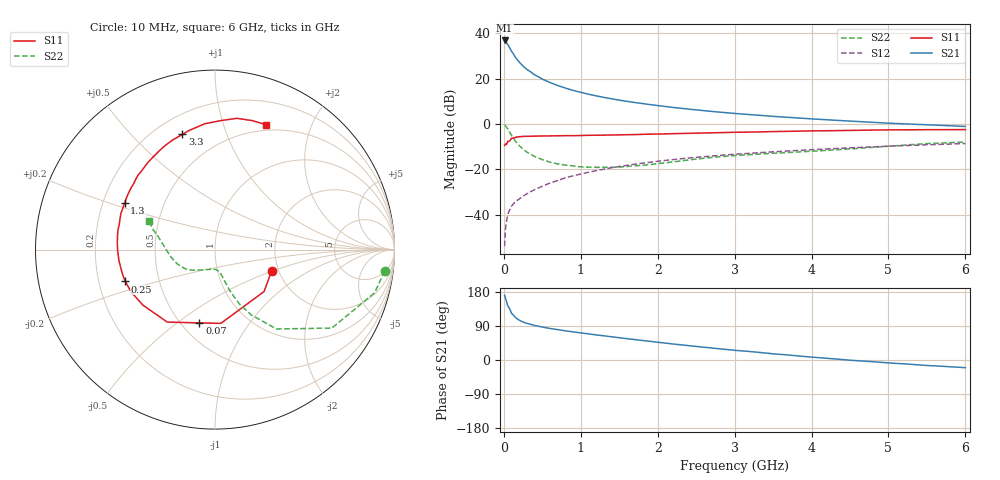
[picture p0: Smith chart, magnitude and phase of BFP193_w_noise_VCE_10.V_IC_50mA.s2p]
! (c) 2017  Infineon Technologies AG, Munich
! Infineon Technologies  Discrete & RF Semiconductors
! BFP193
! VCE =  10. V,  IC =  50 mA
! Common Emitter S-Parameters:  Jan 2017
# GHz  S  MA  R  50
!  f  S11  S21  S12  S22
! GHz  MAG  ANG  MAG  ANG  MAG  ANG  MAG  ANG
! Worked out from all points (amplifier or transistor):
!   77 points, 10 MHz to 6 GHz, reference 50 ohm
!   highest |S21| = 36.9 dB at 10 MHz (marker M1)
!   |S21| within 3 dB of that: start of sweep to 71.15 MHz
!   unconditionally stable (mu >= 1): 618.6 MHz to 2.39 GHz
!   at 130 MHz: K = 0.56, MSG = 32.8 dB, |S12| = -35.0 dB
!   at 2.2 GHz: K = 1.01, MAG = 10.9 dB, |S12| = -15.7 dB
!   at 6 GHz: K = 0.90, MSG = 3.8 dB, |S12| = -8.7 dB
!   lowest NFmin = 1.52 dB at 450 MHz
!   S11 on the Smith chart (normalised r, x): 10 MHz: 1.84, -0.49; 70 MHz: 0.61, -0.61; 250 MHz: 0.31, -0.16; 1.3 GHz: 0.29, +0.22; 3.3 GHz: 0.31, +0.71; 6 GHz: 0.43, +1.39
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0.01  0.3373 -20.5  69.87 171.0  0.002 81.3  0.9526 -7.2
0.02  0.3596 -40.5  68.26 163.4  0.0046 85.9  0.9217 -15.1
0.05  0.4124 -85.5  57.27 143.4  0.0099 63.2  0.7841 -33.9
0.07  0.4174 -102.0  49.87 136.9  0.0121 61.5  0.6865 -39.8
0.1  0.4837 -123.4  40.48 123.1  0.0153 59.9  0.5594 -52.2
0.15  0.5067 -142.3  29.76 112.0  0.0193 57.4  0.4172 -60.9
0.2  0.5231 -152.9  23.27 105.1  0.022 59.6  0.333 -65.8
0.25  0.5308 -160.5  19 100.0  0.0255 59.4  0.2773 -68.3
0.3  0.5335 -165.6  15.99 96.6  0.0286 62.3  0.2381 -70.3
0.4  0.5385 -173.3  12.19 91.0  0.0354 64.9  0.1908 -72.5
0.5  0.5424 -179.3  9.81 86.9  0.0421 66.1  0.1629 -74.3
0.6  0.5453 176.2  8.23 83.2  0.0497 67.1  0.1435 -76.1
0.7  0.5482 172.3  7.067 80.2  0.0564 67.7  0.1309 -77.5
0.9  0.5518 165.1  5.512 74.2  0.0716 66.9  0.1185 -82.4
1.1  0.562 158.7  4.547 69.0  0.0859 65.6  0.1113 -87.9
1.3  0.5667 152.7  3.859 63.8  0.1003 64.1  0.1104 -94.7
2.1  0.6044 130.8  2.43 44.6  0.1567 55.4  0.1388 -125.3
3.1  0.6579 109.4  1.658 24.0  0.2195 43.3  0.2053 -151.2
3.3  0.6672 105.8  1.562 20.4  0.2309 41.1  0.2148 -155.6
4.1  0.7059 93.1  1.267 6.1  0.2756 31.9  0.2556 -173.6
5.1  0.7421 79.2  1.025 -8.9  0.3275 20.7  0.3314 166.1
6  0.7517 68.0  0.882 -20.3  0.3691 10.6  0.3986 156.5
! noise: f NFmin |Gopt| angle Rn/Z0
0.45  1.52  0.43  -170  0.08
0.9  1.57  0.45  -164  0.09
1.9  2.2  0.61  -132  0.23
2.4  2.55  0.64  -119  0.48
